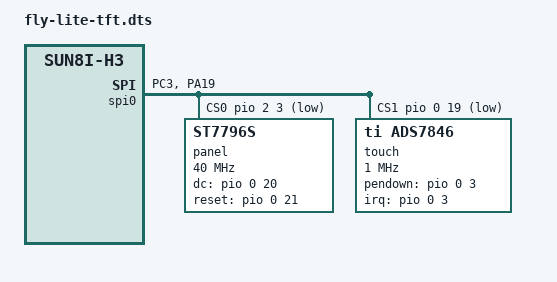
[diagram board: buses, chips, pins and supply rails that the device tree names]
/dts-v1/;
/plugin/;

/*
 * Fly TFT V2 on Fly Lite 2.1 (H3): ST7796 SPI panel via panel-mipi-dbi +
 * resistive ADS7846 on SPI0 CS1. Capacitive GT911 uses fly-lite-tft-c
 * (disables ADS7846; Cap DIP frees PA2/PA3 for GT911 on i2c2 @ 0x14).
 *
 * Pins: DC PA20, reset PA21, CS0 PC3, CS1 PA19. Backlight PA6 is in the
 * Fly base DTB (gpio-leds), not this overlay. Firmware: /lib/firmware/ST7796S.bin
 * Cable: 16P FPC — reverse orientation vs some Pi harnesses.
 */

/ {
	compatible = "allwinner,sun8i-h3";

	fragment@0 {
		target-path = "/aliases";
		__overlay__ {
			spi0 = "/soc/spi@1c68000";
		};
	};

	fragment@1 {
		target = <&pio>;
		__overlay__ {
			fly_display_pins: fly_display_pins {
				pins = "PA20", "PA21";
				function = "gpio_out";
			};

			touch_pins: touch_pins {
				pins = "PA2", "PA3";
				function = "gpio_in";
				bias-pull-up;
			};

			spi0_cs_pins: spi0_cs_pins {
				pins = "PC3", "PA19";
				function = "gpio_out";
			};
		};
	};

	fragment@2 {
		target = <&spi0>;
		__overlay__ {
			#address-cells = <1>;
			#size-cells = <0>;
			pinctrl-names = "default";
			pinctrl-0 = <&spi0_pins &spi0_cs_pins>;
			cs-gpios = <&pio 2 3 1>, <&pio 0 19 1>;
			status = "okay";

			spidev@0 {
				status = "disabled";
			};

			spidev@1 {
				status = "disabled";
			};

			panel@0 {
				compatible = "ST7796S", "panel-mipi-dbi-spi";
				reg = <0>;
				spi-max-frequency = <40000000>;
				spi-cpha;
				spi-cpol;
				write-only;
				dc-gpios = <&pio 0 20 0>;
				reset-gpios = <&pio 0 21 0>;
				rotation = <90>;
				format = "r5g6b5";
				firmware-name = "ST7796S.bin";
				width-mm = <49>;
				height-mm = <74>;
				status = "okay";

				/* panel-mipi-dbi: only hactive/vactive matter; porches must be 0 */
				panel-timing {
					clock-frequency = <0>;
					hactive = <320>;
					vactive = <480>;
					hfront-porch = <0>;
					hback-porch = <0>;
					hsync-len = <0>;
					vfront-porch = <0>;
					vback-porch = <0>;
					vsync-len = <0>;
				};
			};

			touch@1 {
				compatible = "ti,ads7846";
				reg = <1>;
				spi-max-frequency = <1000000>;
				pinctrl-names = "default";
				pinctrl-0 = <&touch_pins>;
				interrupt-parent = <&pio>;
				interrupts = <0 3 2>;
				pendown-gpio = <&pio 0 3 0>;
				ti,keep-vref-on;
				wakeup-source;
				touchscreen-inverted-x;
				touchscreen-swapped-x-y;
			};
		};
	};
};
